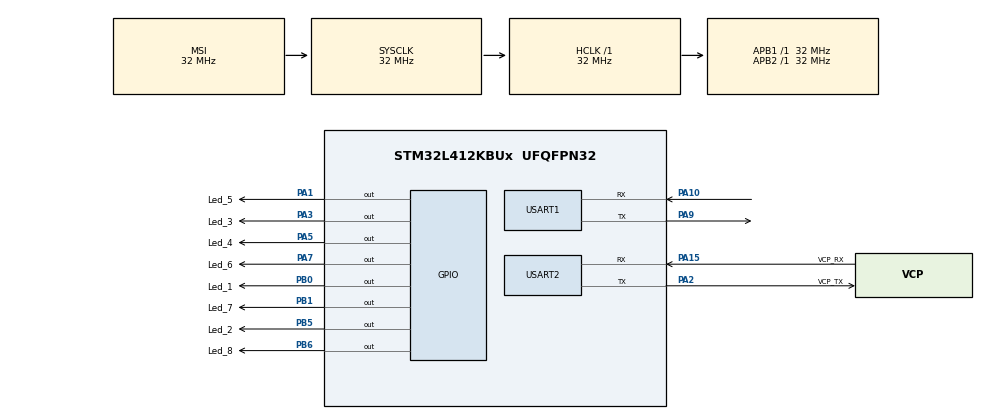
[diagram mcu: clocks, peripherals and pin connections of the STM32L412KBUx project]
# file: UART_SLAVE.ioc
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Mcu.Family=STM32L4
Mcu.Name=STM32L412KBUx
Mcu.Package=UFQFPN32
NVIC.PriorityGroup=NVIC_PRIORITYGROUP_4
NVIC.USART1_IRQn=true\:0\:0\:false\:false\:true\:true\:true\:true
NVIC.USART2_IRQn=true\:0\:0\:false\:false\:true\:true\:true\:true
PA0-CK_IN.Mode=HSE-External-Clock-Source-for-LittleOrca
PA0-CK_IN.Signal=RCC_CK_IN
PA1.GPIO_Label=Led_5
PA1.Signal=GPIO_Output
PA10.Mode=Asynchronous
PA10.Signal=USART1_RX
PA13\ (JTMS/SWDIO).GPIO_Label=SWDIO
PA13\ (JTMS/SWDIO).Mode=Serial_Wire
PA13\ (JTMS/SWDIO).Signal=SYS_JTMS-SWDIO
PA14\ (JTCK/SWCLK).GPIO_Label=SWCLK
PA14\ (JTCK/SWCLK).Mode=Serial_Wire
PA14\ (JTCK/SWCLK).Signal=SYS_JTCK-SWCLK
PA15\ (JTDI).GPIO_Label=VCP_RX
PA15\ (JTDI).Mode=Asynchronous
PA15\ (JTDI).Signal=USART2_RX
PA2.GPIO_Label=VCP_TX
PA2.Mode=Asynchronous
PA2.Signal=USART2_TX
PA3.GPIO_Label=Led_3
PA3.Signal=GPIO_Output
PA5.GPIO_Label=Led_4
PA5.Signal=GPIO_Output
PA7.GPIO_Label=Led_6
PA7.Signal=GPIO_Output
PA9.Mode=Asynchronous
PA9.Signal=USART1_TX
PB0.GPIO_Label=Led_1
PB0.Signal=GPIO_Output
PB1.GPIO_Label=Led_7
PB1.Signal=GPIO_Output
PB5.GPIO_Label=Led_2
PB5.Signal=GPIO_Output
PB6.GPIO_Label=Led_8
PB6.Signal=GPIO_Output
PC14-OSC32_IN\ (PC14).Mode=LSE-External-Oscillator
PC14-OSC32_IN\ (PC14).Signal=RCC_OSC32_IN
PC15-OSC32_OUT\ (PC15).Mode=LSE-External-Oscillator
PC15-OSC32_OUT\ (PC15).Signal=RCC_OSC32_OUT
ProjectManager.HeapSize=0x200
ProjectManager.StackSize=0x400
ProjectManager.TargetToolchain=STM32CubeIDE
RCC.ADCFreq_Value=32000000
RCC.AHBFreq_Value=32000000
RCC.APB1Freq_Value=32000000
RCC.APB1TimFreq_Value=32000000
RCC.APB2Freq_Value=32000000
RCC.APB2TimFreq_Value=32000000
RCC.CortexFreq_Value=32000000
RCC.FLatency=FLASH_LATENCY_1
RCC.HCLKFreq_Value=32000000
RCC.HSE_VALUE=8000000
RCC.HSI48_VALUE=48000000
RCC.HSICalibrationValue=64
RCC.HSI_VALUE=16000000
RCC.LSE_Drive_Capability=RCC_LSEDRIVE_LOW
RCC.MSIClockRange=RCC_MSIRANGE_10
RCC.MSI_VALUE=32000000
RCC.SYSCLKFreq_VALUE=32000000
RCC.USBFreq_Value=32000000
RCC.VCOOutputFreq_Value=256000000
USART1.VirtualMode-Asynchronous=VM_ASYNC
USART2.VirtualMode-Asynchronous=VM_ASYNC
board=NUCLEO-L412KB

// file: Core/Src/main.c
// Copyright 2026 Tobiasz_Kandziora
#include "main.h"

/* USER CODE BEGIN Includes */
#include "slave_app.h"

/* USER CODE END Includes */

UART_HandleTypeDef huart1;
UART_HandleTypeDef huart2;

/* USER CODE BEGIN PV */

uint8_t rx_data_uart1;
uint8_t rx_data_uart2;

/* USER CODE END PV */

void SystemClock_Config(void);
static void MX_GPIO_Init(void);
static void MX_USART2_UART_Init(void);
static void MX_USART1_UART_Init(void);
/* USER CODE BEGIN PFP */
void Update(uint8_t leds);
uint16_t CalculateCRC(uint8_t *data, uint8_t length);
void SendAuthorizationRequest(uint8_t command);
void HandleMasterResponse(uint8_t response);
void ValidateAndExecuteCommand(uint8_t cmd);
void PerformSelfTestStart(void);
void PerformSelfTestUpdate(void);

void ProcessPingFrame(void);
void HandleMasterRx(uint8_t rx_byte);
/* USER CODE END PFP */

int main(void) {

  /* MCU Configuration------------------------------*/

  HAL_Init();

  /* Configure the system clock */
  SystemClock_Config();

  /* Initialize all configured peripherals */
  MX_GPIO_Init();
  MX_USART2_UART_Init();
  MX_USART1_UART_Init();
  /* USER CODE BEGIN 2 */

  // Inicjalizacja naszej aplikacji (maszyny stanów) i wejście w tryb Safe Boot
  SlaveApp_Init();

  // Rozpoczęcie nasłuchiwania na obu portach UART w trybie przerwań (1 znak naraz)
  HAL_UART_Receive_IT(&huart1, &rx_data_uart1, 1);
  HAL_UART_Receive_IT(&huart2, &rx_data_uart2, 1);

  /* USER CODE END 2 */

  /* Infinite loop */
  while (1) {

    /* USER CODE BEGIN 3 */

    // Główny silnik aplikacji. To ta funkcja w kółko sprawdza czas Watchdoga
    // i obsługuje logikę opóźnień niezależnie od odbieranych znaków UART.
    SlaveApp_Process();
  }
  /* USER CODE END 3 */
}

void SystemClock_Config(void) {
  RCC_OscInitTypeDef RCC_OscInitStruct = { 0 };
  RCC_ClkInitTypeDef RCC_ClkInitStruct = { 0 };

  /** Configure the main internal regulator output voltage
   */
  if (HAL_PWREx_ControlVoltageScaling(PWR_REGULATOR_VOLTAGE_SCALE1) != HAL_OK) {
    Error_Handler();
  }

  /** Configure LSE Drive Capability
   */
  HAL_PWR_EnableBkUpAccess();
  __HAL_RCC_LSEDRIVE_CONFIG(RCC_LSEDRIVE_LOW);

  /** Initializes the RCC Oscillators according to the specified parameters
   * in the RCC_OscInitTypeDef structure.
   */
  RCC_OscInitStruct.OscillatorType = RCC_OSCILLATORTYPE_LSE
      | RCC_OSCILLATORTYPE_MSI;
  RCC_OscInitStruct.LSEState = RCC_LSE_ON;
  RCC_OscInitStruct.MSIState = RCC_MSI_ON;
  RCC_OscInitStruct.MSICalibrationValue = 0;
  RCC_OscInitStruct.MSIClockRange = RCC_MSIRANGE_10;
  RCC_OscInitStruct.PLL.PLLState = RCC_PLL_NONE;
  if (HAL_RCC_OscConfig(&RCC_OscInitStruct) != HAL_OK) {
    Error_Handler();
  }

  /** Initializes the CPU, AHB and APB buses clocks
   */
  RCC_ClkInitStruct.ClockType = RCC_CLOCKTYPE_HCLK | RCC_CLOCKTYPE_SYSCLK
      | RCC_CLOCKTYPE_PCLK1 | RCC_CLOCKTYPE_PCLK2;
  RCC_ClkInitStruct.SYSCLKSource = RCC_SYSCLKSOURCE_MSI;
  RCC_ClkInitStruct.AHBCLKDivider = RCC_SYSCLK_DIV1;
  RCC_ClkInitStruct.APB1CLKDivider = RCC_HCLK_DIV1;
  RCC_ClkInitStruct.APB2CLKDivider = RCC_HCLK_DIV1;

  if (HAL_RCC_ClockConfig(&RCC_ClkInitStruct, FLASH_LATENCY_1) != HAL_OK) {
    Error_Handler();
  }

  /** Enable MSI Auto calibration
   */
  HAL_RCCEx_EnableMSIPLLMode();
}

static void MX_USART1_UART_Init(void) {

  huart1.Instance = USART1;
  huart1.Init.BaudRate = 115200;
  huart1.Init.WordLength = UART_WORDLENGTH_8B;
  huart1.Init.StopBits = UART_STOPBITS_1;
  huart1.Init.Parity = UART_PARITY_NONE;
  huart1.Init.Mode = UART_MODE_TX_RX;
  huart1.Init.HwFlowCtl = UART_HWCONTROL_NONE;
  huart1.Init.OverSampling = UART_OVERSAMPLING_16;
  huart1.Init.OneBitSampling = UART_ONE_BIT_SAMPLE_DISABLE;
  huart1.AdvancedInit.AdvFeatureInit = UART_ADVFEATURE_NO_INIT;
  if (HAL_UART_Init(&huart1) != HAL_OK) {
    Error_Handler();
  }
}

static void MX_USART2_UART_Init(void) {

  huart2.Instance = USART2;
  huart2.Init.BaudRate = 115200;
  huart2.Init.WordLength = UART_WORDLENGTH_8B;
  huart2.Init.StopBits = UART_STOPBITS_1;
  huart2.Init.Parity = UART_PARITY_NONE;
  huart2.Init.Mode = UART_MODE_TX_RX;
  huart2.Init.HwFlowCtl = UART_HWCONTROL_NONE;
  huart2.Init.OverSampling = UART_OVERSAMPLING_16;
  huart2.Init.OneBitSampling = UART_ONE_BIT_SAMPLE_DISABLE;
  huart2.AdvancedInit.AdvFeatureInit = UART_ADVFEATURE_NO_INIT;
  if (HAL_UART_Init(&huart2) != HAL_OK) {
    Error_Handler();
  }
}

static void MX_GPIO_Init(void) {
  GPIO_InitTypeDef GPIO_InitStruct = { 0 };

  /* GPIO Ports Clock Enable */
  __HAL_RCC_GPIOC_CLK_ENABLE();
  __HAL_RCC_GPIOA_CLK_ENABLE();
  __HAL_RCC_GPIOB_CLK_ENABLE();

  /*Configure GPIO pin Output Level */
  HAL_GPIO_WritePin(GPIOA, Led_5_Pin | Led_3_Pin | Led_4_Pin | Led_6_Pin,
                    GPIO_PIN_RESET);

  /*Configure GPIO pin Output Level */
  HAL_GPIO_WritePin(GPIOB, Led_1_Pin | Led_7_Pin | Led_2_Pin | Led_8_Pin,
                    GPIO_PIN_RESET);

  /*Configure GPIO pins : Led_5_Pin Led_3_Pin Led_4_Pin Led_6_Pin */
  GPIO_InitStruct.Pin = Led_5_Pin | Led_3_Pin | Led_4_Pin | Led_6_Pin;
  GPIO_InitStruct.Mode = GPIO_MODE_OUTPUT_PP;
  GPIO_InitStruct.Pull = GPIO_NOPULL;
  GPIO_InitStruct.Speed = GPIO_SPEED_FREQ_LOW;
  HAL_GPIO_Init(GPIOA, &GPIO_InitStruct);

  /*Configure GPIO pins : Led_1_Pin Led_7_Pin Led_2_Pin Led_8_Pin */
  GPIO_InitStruct.Pin = Led_1_Pin | Led_7_Pin | Led_2_Pin | Led_8_Pin;
  GPIO_InitStruct.Mode = GPIO_MODE_OUTPUT_PP;
  GPIO_InitStruct.Pull = GPIO_NOPULL;
  GPIO_InitStruct.Speed = GPIO_SPEED_FREQ_LOW;
  HAL_GPIO_Init(GPIOB, &GPIO_InitStruct);

}

/* USER CODE BEGIN 4 */

/**
 * @brief Sprzętowe przerwanie odbioru pełnego znaku z UART (Callback).
 * @param huart Wskaźnik na strukturę portu, z którego nadeszły dane.
 * @details Funkcja wyłapuje znaki w tle i przekierowuje je do warstwy
 * aplikacji, po czym natychmiast wznawia nasłuchiwanie.
 */
void HAL_UART_RxCpltCallback(UART_HandleTypeDef *huart) {
  if (huart->Instance == USART2) {
    // Odebrano znak z komputera PC
    SlaveApp_UART2_RxCallback(rx_data_uart2);
    HAL_UART_Receive_IT(&huart2, &rx_data_uart2, 1);
  } else if (huart->Instance == USART1) {
    // Odebrano znak z Mastera
    SlaveApp_UART1_RxCallback(rx_data_uart1);
    HAL_UART_Receive_IT(&huart1, &rx_data_uart1, 1);
  }
}

/**
 * @brief Przerwanie w przypadku fizycznego błędu komunikacji (np. odpięcie kabla).
 * @details Kluczowe zabezpieczenie (Hot-plug protection). Zapobiega trwałemu
 * zablokowaniu się sprzętowego układu UART w mikrokontrolerze po błędzie Overrun.
 */
void HAL_UART_ErrorCallback(UART_HandleTypeDef *huart) {
  if (huart->Instance == USART1) {
    HAL_UART_Receive_IT(&huart1, &rx_data_uart1, 1);
  } else if (huart->Instance == USART2) {
    HAL_UART_Receive_IT(&huart2, &rx_data_uart2, 1);
  }
}

/* USER CODE END 4 */

void Error_Handler(void) {
  __disable_irq();
  while (1) {
  }
}
